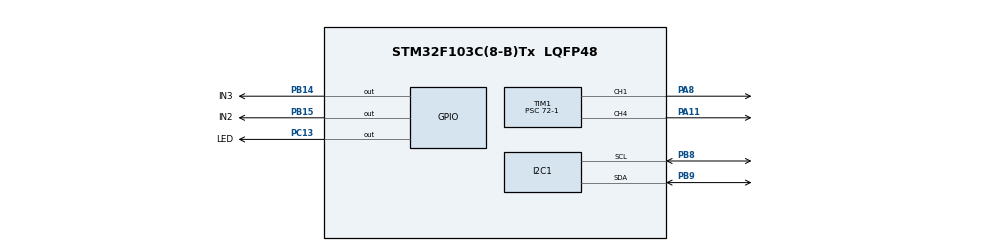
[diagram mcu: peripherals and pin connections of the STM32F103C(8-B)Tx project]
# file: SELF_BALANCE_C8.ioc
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I2C1.I2C_Mode=I2C_Fast
Mcu.Family=STM32F1
Mcu.Name=STM32F103C(8-B)Tx
Mcu.Package=LQFP48
NVIC.PriorityGroup=NVIC_PRIORITYGROUP_4
NVIC.TIM2_IRQn=true\:0\:0\:false\:false\:true\:true\:true\:true
PA11.Signal=S_TIM1_CH4
PA13.Mode=Serial_Wire
PA13.Signal=SYS_JTMS-SWDIO
PA14.Mode=Serial_Wire
PA14.Signal=SYS_JTCK-SWCLK
PA8.Signal=S_TIM1_CH1
PB14.GPIO_Label=IN3
PB14.Signal=GPIO_Output
PB15.GPIO_Label=IN2
PB15.Signal=GPIO_Output
PB8.Mode=I2C
PB8.Signal=I2C1_SCL
PB9.Mode=I2C
PB9.Signal=I2C1_SDA
PC13-TAMPER-RTC.GPIO_Label=LED
PC13-TAMPER-RTC.Signal=GPIO_Output
PD0-OSC_IN.Mode=HSE-External-Oscillator
PD0-OSC_IN.Signal=RCC_OSC_IN
PD1-OSC_OUT.Mode=HSE-External-Oscillator
PD1-OSC_OUT.Signal=RCC_OSC_OUT
ProjectManager.HeapSize=0x200
ProjectManager.StackSize=0x400
ProjectManager.TargetToolchain=MDK-ARM V5.32
RCC.APB1Freq_Value=8000000
RCC.APB2Freq_Value=8000000
SH.S_TIM1_CH1.0=TIM1_CH1,PWM Generation1 CH1
SH.S_TIM1_CH4.0=TIM1_CH4,PWM Generation4 CH4
TIM1.Channel-PWM\ Generation1\ CH1=TIM_CHANNEL_1
TIM1.Channel-PWM\ Generation4\ CH4=TIM_CHANNEL_4
TIM1.Period=1000-1
TIM1.Prescaler=72-1
TIM2.Period=10000-1
TIM2.Prescaler=72-1
VP_TIM2_VS_ClockSourceINT.Mode=Internal
board=custom

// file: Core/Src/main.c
/* USER CODE BEGIN Header */
/**
  ******************************************************************************
  * @file           : main.c
  * @brief          : Main program body
  ******************************************************************************
  * @attention
  *
  * Copyright (c) 2023 STMicroelectronics.
  * All rights reserved.
  *
  * This software is licensed under terms that can be found in the LICENSE file
  * in the root directory of this software component.
  * If no LICENSE file comes with this software, it is provided AS-IS.
  *
  ******************************************************************************
  */
/* USER CODE END Header */
#include "main.h"

/* USER CODE BEGIN Includes */
#include "MOTOR_1KHZ.h"
#include "mpu6050.h"
#include "math.h"
#include "stdlib.h"
/* USER CODE END Includes */

 I2C_HandleTypeDef hi2c1;

TIM_HandleTypeDef htim1;
TIM_HandleTypeDef htim2;

/* USER CODE BEGIN PV */

Motor_t motorLeft, motorRight;
MPU6050_t mpu;
/* USER CODE END PV */

void SystemClock_Config(void);
static void MX_GPIO_Init(void);
static void MX_I2C1_Init(void);
static void MX_TIM2_Init(void);
static void MX_TIM1_Init(void);

/* USER CODE BEGIN 0 */
static uint8_t status;

typedef struct {
	float Ax;
	float Ay;
	float Az;

	float Gx;
	float Gy;
	float Gz;

	float Roll;
	float Pitch;

	float angle_roll;
	float angle_pitch;
} MPU6050s_t;
MPU6050s_t dataMpu;

static float Kp = 3.8f;
static float Ki = 2.5f;
static float Kd = 0.1;
static double samplingTime = 0.01;
static double Error, Error1, Error2;
static double alpha, beta, gamma;
static double Output, LastOutput;
static volatile double PWM, PWM_data;
static uint8_t dir;
static float PID(double setPoint, double pitch)
{
		Error = setPoint - pitch;
		alpha = 2*samplingTime*Kp + Ki*samplingTime*samplingTime + 2*Kd;
		beta = samplingTime*samplingTime*Ki - 4*Kd - 2*samplingTime*Kp;
		gamma = 2*Kd;
		Output = (alpha * Error + beta * Error1 + gamma * Error2 + 2 * samplingTime * LastOutput)/(2 * samplingTime);
		LastOutput = Output;

		Error2 = Error1;
		Error1 = Error;

		return Output;
}
void HAL_TIM_PeriodElapsedCallback(TIM_HandleTypeDef *htim)				// 0.01s
{
		if(htim->Instance == TIM2)
		{
				MPU6050_Read_All(&hi2c1, &mpu);
				dataMpu.angle_pitch = mpu.KalmanAngleY;
				PWM = PID(-1.855, dataMpu.angle_pitch);
				if( fabs(dataMpu.angle_pitch) < 50)
				{
						if( fabs(PWM) < 5)
						{
								PWM = 0;
						}
						else if(fabs(PWM) > 100)
						{
								PWM = 100;
						}
						dir = (PWM > 0) ? 1 : 0;
				}
				else
				{
						PWM = 0;
						dir = (PWM > 0) ? 1 : 0;
				}

		}
}

/* USER CODE END 0 */

int main(void)
{

  /* MCU Configuration--------------------------------------------------------*/

  /* Reset of all peripherals, Initializes the Flash interface and the Systick. */
  HAL_Init();

  /* Configure the system clock */
  SystemClock_Config();

  /* Initialize all configured peripherals */
  MX_GPIO_Init();
  MX_I2C1_Init();
  MX_TIM2_Init();
  MX_TIM1_Init();
  /* USER CODE BEGIN 2 */
	HAL_TIM_Base_Start_IT(&htim2);

	status = MPU6050_Init(&hi2c1);

	MOTOR_Init(&motorLeft, &htim1, TIM_CHANNEL_1, IN2_GPIO_Port, (uint16_t*)IN2_Pin);
	MOTOR_Init(&motorRight, &htim1, TIM_CHANNEL_4, IN3_GPIO_Port, (uint16_t*)IN3_Pin);
  /* USER CODE END 2 */

  /* Infinite loop */
  /* USER CODE BEGIN WHILE */
  while (1)
  {
		if(dir == 0)
		{
				SPEED(&motorLeft, PWM, CCW);
				SPEED(&motorRight, PWM, CCW);
		}
		else if (dir == 1)
		{
				SPEED(&motorLeft, PWM, CW);
				SPEED(&motorRight, PWM, CW);
		}
    /* USER CODE END WHILE */

  }
}

void SystemClock_Config(void)
{
  RCC_OscInitTypeDef RCC_OscInitStruct = {0};
  RCC_ClkInitTypeDef RCC_ClkInitStruct = {0};

  /** Initializes the RCC Oscillators according to the specified parameters
  * in the RCC_OscInitTypeDef structure.
  */
  RCC_OscInitStruct.OscillatorType = RCC_OSCILLATORTYPE_HSI;
  RCC_OscInitStruct.HSIState = RCC_HSI_ON;
  RCC_OscInitStruct.HSICalibrationValue = RCC_HSICALIBRATION_DEFAULT;
  RCC_OscInitStruct.PLL.PLLState = RCC_PLL_NONE;
  if (HAL_RCC_OscConfig(&RCC_OscInitStruct) != HAL_OK)
  {
    Error_Handler();
  }

  /** Initializes the CPU, AHB and APB buses clocks
  */
  RCC_ClkInitStruct.ClockType = RCC_CLOCKTYPE_HCLK|RCC_CLOCKTYPE_SYSCLK
                              |RCC_CLOCKTYPE_PCLK1|RCC_CLOCKTYPE_PCLK2;
  RCC_ClkInitStruct.SYSCLKSource = RCC_SYSCLKSOURCE_HSI;
  RCC_ClkInitStruct.AHBCLKDivider = RCC_SYSCLK_DIV1;
  RCC_ClkInitStruct.APB1CLKDivider = RCC_HCLK_DIV1;
  RCC_ClkInitStruct.APB2CLKDivider = RCC_HCLK_DIV1;

  if (HAL_RCC_ClockConfig(&RCC_ClkInitStruct, FLASH_LATENCY_0) != HAL_OK)
  {
    Error_Handler();
  }
}

static void MX_I2C1_Init(void)
{

  hi2c1.Instance = I2C1;
  hi2c1.Init.ClockSpeed = 400000;
  hi2c1.Init.DutyCycle = I2C_DUTYCYCLE_2;
  hi2c1.Init.OwnAddress1 = 0;
  hi2c1.Init.AddressingMode = I2C_ADDRESSINGMODE_7BIT;
  hi2c1.Init.DualAddressMode = I2C_DUALADDRESS_DISABLE;
  hi2c1.Init.OwnAddress2 = 0;
  hi2c1.Init.GeneralCallMode = I2C_GENERALCALL_DISABLE;
  hi2c1.Init.NoStretchMode = I2C_NOSTRETCH_DISABLE;
  if (HAL_I2C_Init(&hi2c1) != HAL_OK)
  {
    Error_Handler();
  }

}

static void MX_TIM1_Init(void)
{

  TIM_MasterConfigTypeDef sMasterConfig = {0};
  TIM_OC_InitTypeDef sConfigOC = {0};
  TIM_BreakDeadTimeConfigTypeDef sBreakDeadTimeConfig = {0};

  htim1.Instance = TIM1;
  htim1.Init.Prescaler = 72-1;
  htim1.Init.CounterMode = TIM_COUNTERMODE_UP;
  htim1.Init.Period = 1000-1;
  htim1.Init.ClockDivision = TIM_CLOCKDIVISION_DIV1;
  htim1.Init.RepetitionCounter = 0;
  htim1.Init.AutoReloadPreload = TIM_AUTORELOAD_PRELOAD_DISABLE;
  if (HAL_TIM_PWM_Init(&htim1) != HAL_OK)
  {
    Error_Handler();
  }
  sMasterConfig.MasterOutputTrigger = TIM_TRGO_RESET;
  sMasterConfig.MasterSlaveMode = TIM_MASTERSLAVEMODE_DISABLE;
  if (HAL_TIMEx_MasterConfigSynchronization(&htim1, &sMasterConfig) != HAL_OK)
  {
    Error_Handler();
  }
  sConfigOC.OCMode = TIM_OCMODE_PWM1;
  sConfigOC.Pulse = 0;
  sConfigOC.OCPolarity = TIM_OCPOLARITY_HIGH;
  sConfigOC.OCNPolarity = TIM_OCNPOLARITY_HIGH;
  sConfigOC.OCFastMode = TIM_OCFAST_DISABLE;
  sConfigOC.OCIdleState = TIM_OCIDLESTATE_RESET;
  sConfigOC.OCNIdleState = TIM_OCNIDLESTATE_RESET;
  if (HAL_TIM_PWM_ConfigChannel(&htim1, &sConfigOC, TIM_CHANNEL_1) != HAL_OK)
  {
    Error_Handler();
  }
  if (HAL_TIM_PWM_ConfigChannel(&htim1, &sConfigOC, TIM_CHANNEL_4) != HAL_OK)
  {
    Error_Handler();
  }
  sBreakDeadTimeConfig.OffStateRunMode = TIM_OSSR_DISABLE;
  sBreakDeadTimeConfig.OffStateIDLEMode = TIM_OSSI_DISABLE;
  sBreakDeadTimeConfig.LockLevel = TIM_LOCKLEVEL_OFF;
  sBreakDeadTimeConfig.DeadTime = 0;
  sBreakDeadTimeConfig.BreakState = TIM_BREAK_DISABLE;
  sBreakDeadTimeConfig.BreakPolarity = TIM_BREAKPOLARITY_HIGH;
  sBreakDeadTimeConfig.AutomaticOutput = TIM_AUTOMATICOUTPUT_DISABLE;
  if (HAL_TIMEx_ConfigBreakDeadTime(&htim1, &sBreakDeadTimeConfig) != HAL_OK)
  {
    Error_Handler();
  }
  HAL_TIM_MspPostInit(&htim1);

}

static void MX_TIM2_Init(void)
{

  TIM_ClockConfigTypeDef sClockSourceConfig = {0};
  TIM_MasterConfigTypeDef sMasterConfig = {0};

  htim2.Instance = TIM2;
  htim2.Init.Prescaler = 72-1;
  htim2.Init.CounterMode = TIM_COUNTERMODE_UP;
  htim2.Init.Period = 10000-1;
  htim2.Init.ClockDivision = TIM_CLOCKDIVISION_DIV1;
  htim2.Init.AutoReloadPreload = TIM_AUTORELOAD_PRELOAD_DISABLE;
  if (HAL_TIM_Base_Init(&htim2) != HAL_OK)
  {
    Error_Handler();
  }
  sClockSourceConfig.ClockSource = TIM_CLOCKSOURCE_INTERNAL;
  if (HAL_TIM_ConfigClockSource(&htim2, &sClockSourceConfig) != HAL_OK)
  {
    Error_Handler();
  }
  sMasterConfig.MasterOutputTrigger = TIM_TRGO_RESET;
  sMasterConfig.MasterSlaveMode = TIM_MASTERSLAVEMODE_DISABLE;
  if (HAL_TIMEx_MasterConfigSynchronization(&htim2, &sMasterConfig) != HAL_OK)
  {
    Error_Handler();
  }

}

static void MX_GPIO_Init(void)
{
  GPIO_InitTypeDef GPIO_InitStruct = {0};

  /* GPIO Ports Clock Enable */
  __HAL_RCC_GPIOC_CLK_ENABLE();
  __HAL_RCC_GPIOD_CLK_ENABLE();
  __HAL_RCC_GPIOB_CLK_ENABLE();
  __HAL_RCC_GPIOA_CLK_ENABLE();

  /*Configure GPIO pin Output Level */
  HAL_GPIO_WritePin(GPIOC, GPIO_PIN_13, GPIO_PIN_RESET);

  /*Configure GPIO pin Output Level */
  HAL_GPIO_WritePin(GPIOB, GPIO_PIN_14|GPIO_PIN_15, GPIO_PIN_RESET);

  /*Configure GPIO pin : PC13 */
  GPIO_InitStruct.Pin = GPIO_PIN_13;
  GPIO_InitStruct.Mode = GPIO_MODE_OUTPUT_PP;
  GPIO_InitStruct.Pull = GPIO_NOPULL;
  GPIO_InitStruct.Speed = GPIO_SPEED_FREQ_LOW;
  HAL_GPIO_Init(GPIOC, &GPIO_InitStruct);

  /*Configure GPIO pins : PB14 PB15 */
  GPIO_InitStruct.Pin = GPIO_PIN_14|GPIO_PIN_15;
  GPIO_InitStruct.Mode = GPIO_MODE_OUTPUT_PP;
  GPIO_InitStruct.Pull = GPIO_NOPULL;
  GPIO_InitStruct.Speed = GPIO_SPEED_FREQ_LOW;
  HAL_GPIO_Init(GPIOB, &GPIO_InitStruct);

}

void Error_Handler(void)
{
  __disable_irq();
  while (1)
  {
  }
}
